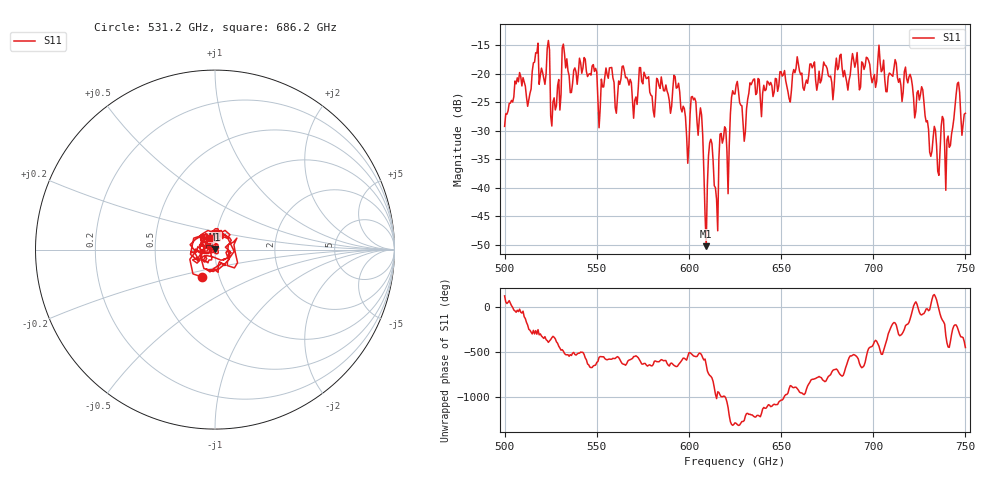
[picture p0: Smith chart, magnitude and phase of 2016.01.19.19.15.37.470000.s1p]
!Created with skrf (http://scikit-rf.org).
# GHz S RI R 50.0
!freq ReS11 ImS11
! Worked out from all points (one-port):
!   401 points, 500 GHz to 750 GHz, reference 50 ohm
!   lowest |S11| = -50.3 dB at 609.4 GHz (marker M1), VSWR 1.01, Z = 50.1 + j0.299 ohm
!   |S11| at or under -10 dB: start of sweep to end of sweep
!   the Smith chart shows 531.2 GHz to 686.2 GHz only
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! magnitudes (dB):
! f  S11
! 500 GHz  -29.2
! 506.9 GHz  -20.7
! 513.1 GHz  -24.5
! 516.9 GHz  -16.3
! 523.1 GHz  -15.5
! 526.2 GHz  -24.9
! 531.2 GHz  -15.4
! 551.9 GHz  -26.0
! 562.5 GHz  -21.8
! 593.8 GHz  -22.4
! 598.8 GHz  -30.9
! 602.5 GHz  -24.6
! 606.2 GHz  -26.0
! 609.4 GHz  -50.3
! 611.9 GHz  -31.5
! 615 GHz  -42.0
! 617.5 GHz  -30.4
! 621.2 GHz  -41.0
! 625 GHz  -23.5
! 630 GHz  -31.8
! 634.4 GHz  -21.4
! 656.2 GHz  -20.1
! 687.5 GHz  -20.2
! 718.8 GHz  -21.6
! 735 GHz  -37.1
! 740.6 GHz  -30.9
! 745.6 GHz  -21.7
! 750 GHz  -26.9
